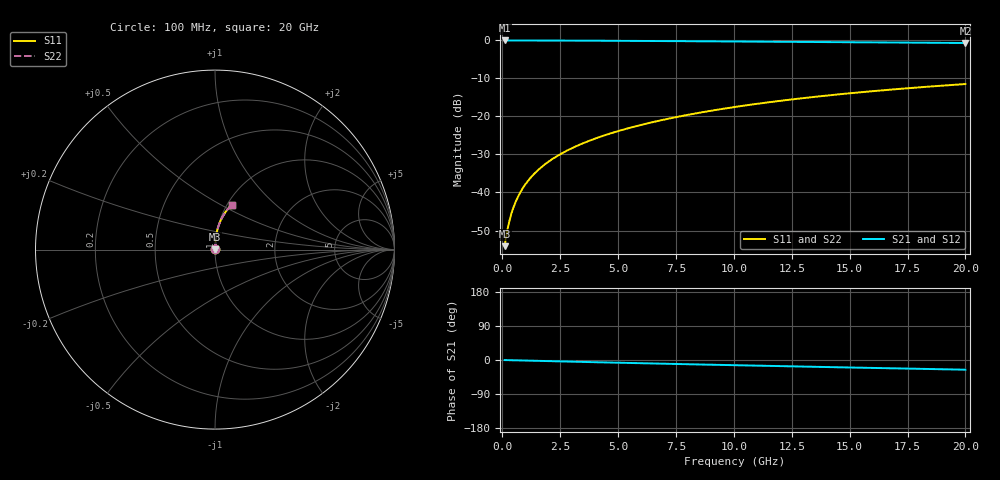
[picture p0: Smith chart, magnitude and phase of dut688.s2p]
! Touchstone file exported from HFSS 2024.1.0
!  File:  C:/UserFiles/LocalFiles/RDL_TSV_Batchsim/temp_RDL_bottom_688_1779786899.aedt
!  Generated:  05:17:30 PM May 26, 2026
!  Design:  RDL_bottom
!  Project:  temp_RDL_bottom_688_1779786899
!  Setup:  Setup1
!  Solution:  Sweep
! Variables:
!  dtsv = 10.80580581um
!  hbump = 3um
!  htsv = 77.95um
!  ldown = 342.84um
!  lrdl = 100um
!  p = 40
!  p1 = 48.08um
!  rhole = 1um
!  t = 450um
!  tdown = 4.97um
!  trdl = 3.915915916um
!  wdown = 18.97um
!  wrdl = 20um
# GHz S MA R 50.000000
! Terminal data exported
! Port[1] = RDL1_T1
! Port[2] = RDL1_T2
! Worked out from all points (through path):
!   200 points, 100 MHz to 20 GHz, reference 50 ohm
!   highest |S21| = -0.01 dB at 100 MHz (marker M1); lowest = -0.7 dB at 20 GHz (marker M2)
!   group delay of S21, straight-line fit = 3.52 ps
!   lowest |S11| = -54.1 dB at 100 MHz (marker M3), VSWR 1.00, Z = 50.1 + j0.136 ohm
!   |S11| at or under -10 dB: start of sweep to end of sweep
!   |S22| runs from -54.1 to -11.5 dB; largest |S21 - S12| = 3.5e-15
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0.1  0.001969 43.5  0.9986 -0.2  0.9986 -0.2  0.001969 43.5
! Gamma 0 0 0 0
! Port Impedance 50 0 50 0
0.2  0.003002 60.4  0.9985 -0.3  0.9985 -0.3  0.003003 60.4
0.3  0.00415 68.7  0.9984 -0.5  0.9984 -0.5  0.00415 68.7
0.4  0.00535 73.4  0.9983 -0.6  0.9983 -0.6  0.00535 73.4
0.5  0.006576 76.4  0.9982 -0.8  0.9982 -0.8  0.006576 76.4
0.6  0.007817 78.4  0.9981 -0.9  0.9981 -0.9  0.007817 78.4
0.8  0.01032 81.0  0.998 -1.2  0.998 -1.2  0.01032 81.0
1.1  0.0141 83.0  0.9976 -1.6  0.9976 -1.6  0.0141 83.0
1.3  0.01662 83.8  0.9974 -1.9  0.9974 -1.9  0.01662 83.8
1.5  0.01915 84.4  0.9971 -2.2  0.9971 -2.2  0.01915 84.4
1.8  0.02294 84.9  0.9967 -2.7  0.9967 -2.7  0.02294 84.9
2.1  0.02674 85.3  0.9961 -3.1  0.9961 -3.1  0.02674 85.3
2.7  0.03435 85.7  0.9948 -4.0  0.9948 -4.0  0.03435 85.7
3.5  0.04458 85.9  0.9927 -5.1  0.9927 -5.1  0.04458 85.8
4.2  0.05364 85.8  0.9906 -6.1  0.9906 -6.1  0.05363 85.8
5  0.06413 85.6  0.988 -7.2  0.988 -7.2  0.06413 85.6
6.8  0.08832 84.6  0.9813 -9.6  0.9813 -9.6  0.08831 84.6
8.4  0.1103 83.3  0.9749 -11.7  0.9749 -11.7  0.1103 83.2
10.1  0.134 81.5  0.9679 -13.8  0.9679 -13.8  0.134 81.5
13.4  0.1799 77.7  0.9539 -17.9  0.9539 -17.9  0.1798 77.7
16.7  0.2244 73.6  0.9393 -21.8  0.9393 -21.8  0.2243 73.6
20  0.2668 69.6  0.9242 -25.6  0.9242 -25.6  0.2667 69.5
